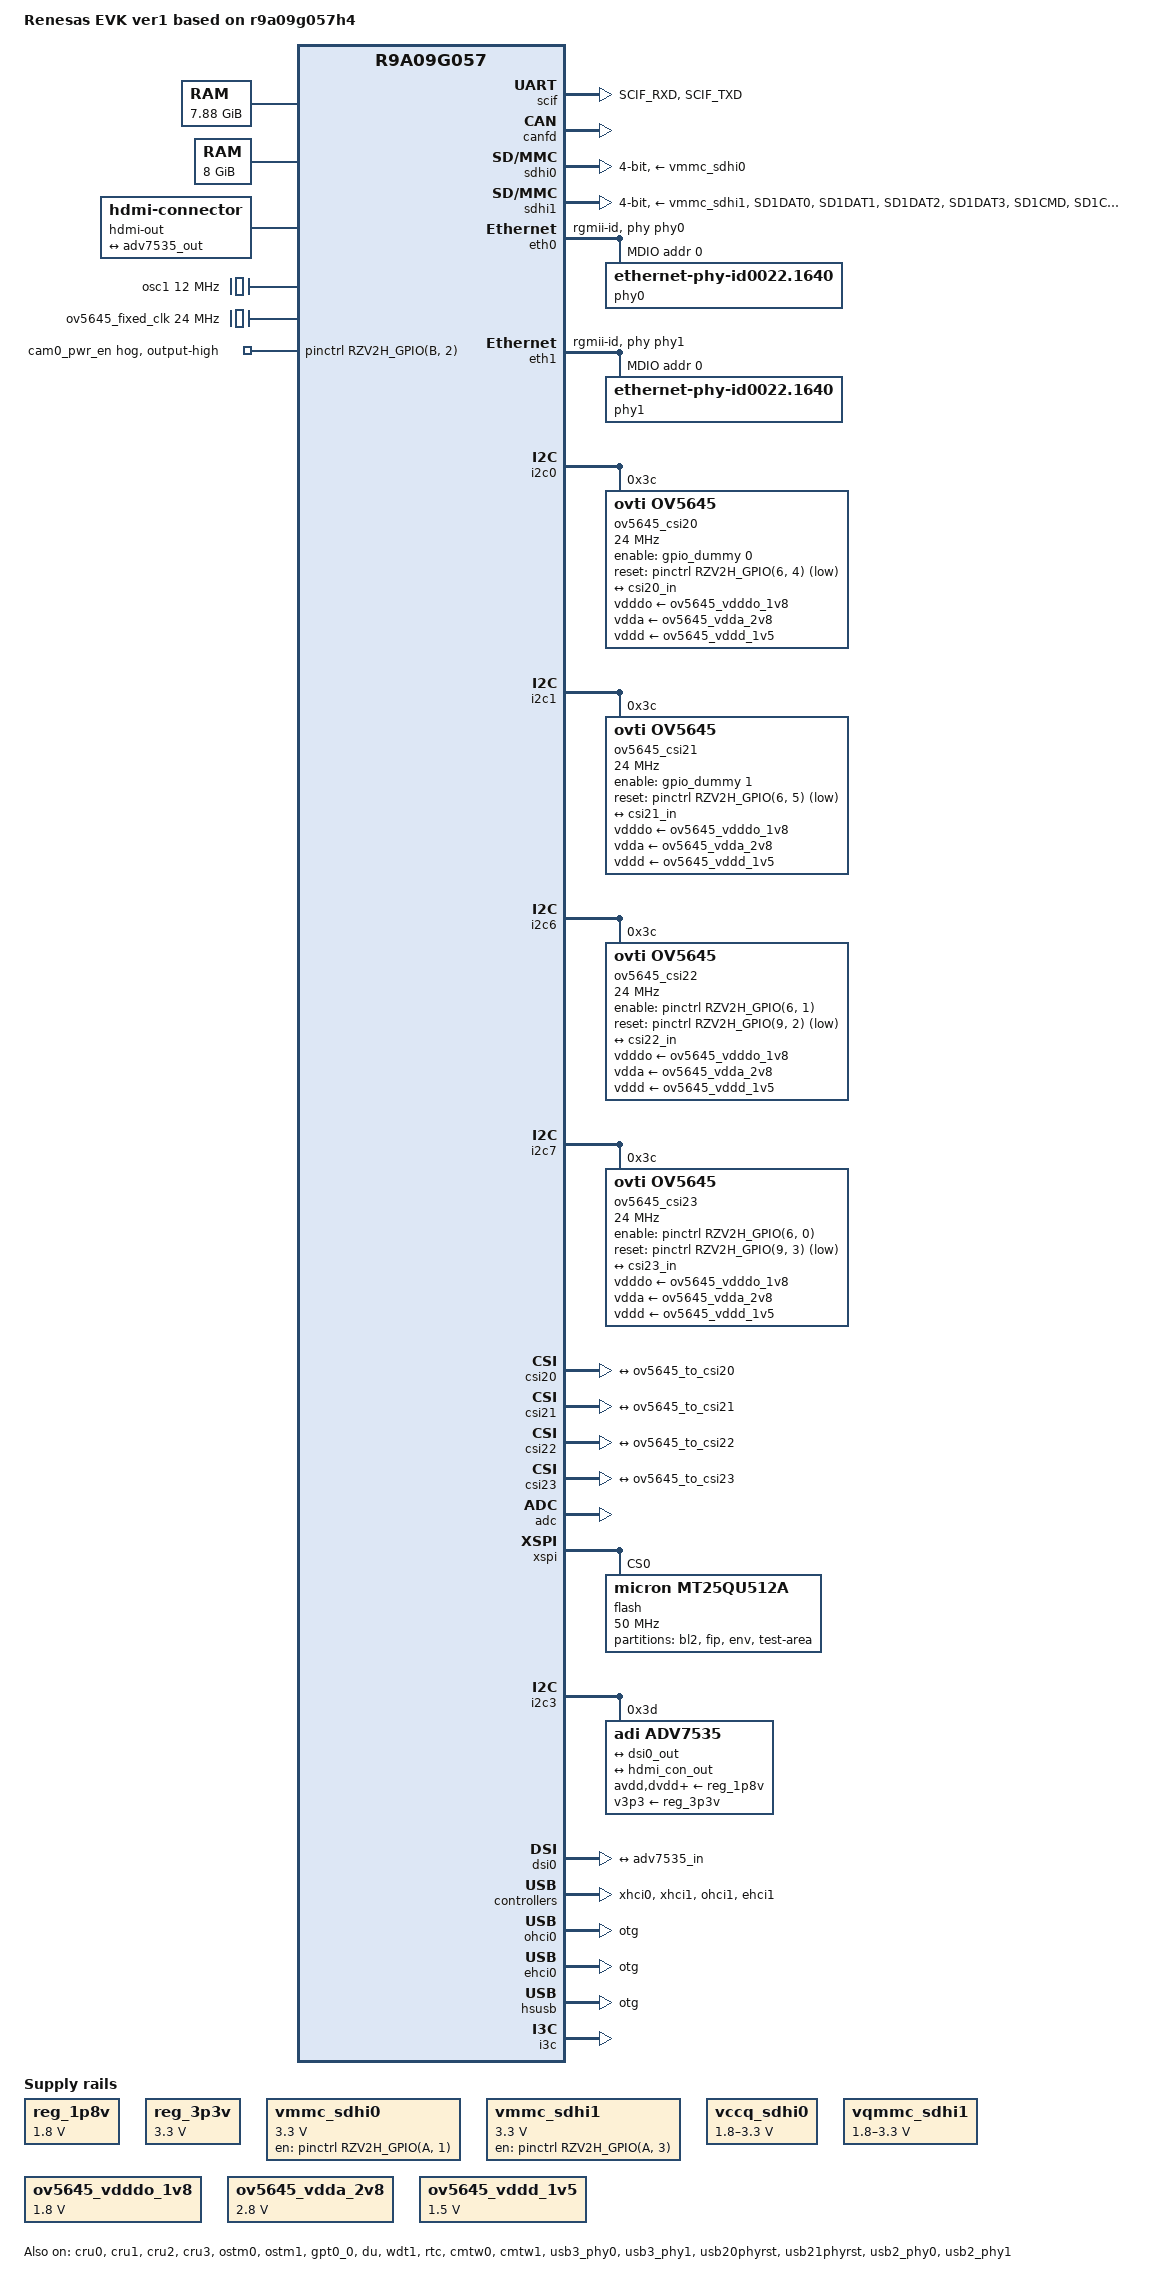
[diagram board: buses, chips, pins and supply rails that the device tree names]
// SPDX-License-Identifier: (GPL-2.0-only OR BSD-2-Clause)
/*
 * Device Tree Source for the RZ/V2H EVK ver1 board
 *
 * Copyright (C) 2024 Renesas Electronics Corp.
 */

/dts-v1/;
#include "r9a09g057.dtsi"
#include <dt-bindings/pinctrl/rzv2h-pinctrl.h>
#include <dt-bindings/gpio/gpio.h>

/ {
	model = "Renesas EVK ver1 based on r9a09g057h4";
	compatible = "renesas,r9a09g057h4-evk-ver1", "renesas,r9a09g057h4", "renesas,r9a09g057";

	aliases {
		serial0 = &scif;
		mmc0 = &sdhi0;
		mmc1 = &sdhi1;
		mmc2 = &sdhi2;
		ethernet0 = &eth0;
		ethernet1 = &eth1;
        };

	chosen {
		bootargs = "ignore_loglevel";
		stdout-path = "serial0:115200n8";
	};

	memory@48000000 {
		device_type = "memory";
		/* first 128MB is reserved for secure area. */
		reg = <0x0 0x48000000 0x1 0xF8000000>;
	};

	memory@240000000 {
		device_type = "memory";
		reg = <0x2 0x40000000 0x2 0x00000000>;
	};

	reserved-memory {
		#address-cells = <2>;
		#size-cells = <2>;
		ranges;

		global_cma: linux,cma@58000000 {
			compatible = "shared-dma-pool";
			linux,cma-default;
			reusable;
			reg = <0x0 0x58000000 0x0 0x10000000>;
		};

		mmp_reserved: linux,multimedia {
			compatible = "shared-dma-pool";
			reusable;
			reg = <0x00000000 0x68000000 0x0 0x20000000>;
		};

		isp: ISP@90000000 {
			compatible = "shared-dma-pool";
			reusable;
			reg = <0x0 0x90000000 0x0 0x18000000>;
		};

		image_buf0: image_buf@B0000000 {
			compatible = "shared-dma-pool";
			reusable;
			reg = <0x0 0xB0000000 0x0 0x4000000>;
			label = "image_buf0";
		};

		opencva_reserved: OpenCVA@C0000000 {
			reusable;
			reg = <0x0 0xC0000000 0x0 0x7D00000>;
		};

		drp_codec: DRP-Codec@C7D00000 {
			reusable;
			reg = <0x0 0xC7D00000 0x0 0x300000>;
		};

		drp_reserved: DRP-AI@240000000 {
			reusable;
			reg = <0x2 0x40000000 0x0 0x20000000>;
		};
	};

	reg_1p8v: regulator0 {
		compatible = "regulator-fixed";

		regulator-name = "fixed-1.8V";
		regulator-min-microvolt = <1800000>;
		regulator-max-microvolt = <1800000>;
		regulator-boot-on;
		regulator-always-on;
	};

	reg_3p3v: regulator1 {
		compatible = "regulator-fixed";

		regulator-name = "fixed-3.3V";
		regulator-min-microvolt = <3300000>;
		regulator-max-microvolt = <3300000>;
		regulator-boot-on;
		regulator-always-on;
	};

	vmmc_sdhi0: regulator-vcc-sdhi0 {
		compatible = "regulator-fixed";

		regulator-name = "SDHI0 Vmmc";
		regulator-min-microvolt = <3300000>;
		regulator-max-microvolt = <3300000>;

		gpios = <&pinctrl RZV2H_GPIO(A, 1) GPIO_ACTIVE_HIGH>;
		enable-active-high;
	};

	vmmc_sdhi1: regulator-vcc-sdhi1 {
		compatible = "regulator-fixed";

		regulator-name = "SDHI1 Vmmc";
		regulator-min-microvolt = <3300000>;
		regulator-max-microvolt = <3300000>;

		gpios = <&pinctrl RZV2H_GPIO(A, 3) GPIO_ACTIVE_HIGH>;
		enable-active-high;
	};

	vccq_sdhi0: regulator-vccq-sdhi0 {
		compatible = "regulator-gpio";

		regulator-name = "SDHI0 VccQ";
		regulator-min-microvolt = <1800000>;
		regulator-max-microvolt = <3300000>;

		gpios = <&pinctrl RZV2H_GPIO(A, 0) GPIO_ACTIVE_HIGH>;

		gpios-states = <0>;
		states = <3300000 0 1800000 1>;
	};

	vqmmc_sdhi1: regulator-vccq-sdhi1 {
		compatible = "regulator-gpio";

		regulator-name = "SDHI1 VccQ";
		regulator-min-microvolt = <1800000>;
		regulator-max-microvolt = <3300000>;

		gpios = <&pinctrl RZV2H_GPIO(A, 2) GPIO_ACTIVE_HIGH>;

		gpios-states = <0>;
		states = <3300000 0 1800000 1>;
	};

	hdmi-out {
		compatible = "hdmi-connector";
		type = "d";

		port {
			hdmi_con_out: endpoint {
				remote-endpoint = <&adv7535_out>;
			};
		};
	};

	osc1: cec-clock {
		compatible = "fixed-clock";
		#clock-cells = <0>;
		clock-frequency = <12000000>;
	};

	ov5645_fixed_clk: osc25250-clk {
		compatible = "fixed-clock";
		#clock-cells = <0>;
		clock-frequency = <24000000>;
	};

	ov5645_vdddo_1v8: 1p8v {
		compatible = "regulator-fixed";
		regulator-name = "camera_vdddo";
		regulator-min-microvolt = <1800000>;
		regulator-max-microvolt = <1800000>;
		regulator-always-on;
	};

	ov5645_vdda_2v8: 2p8v {
		compatible = "regulator-fixed";
		regulator-name = "camera_vdda";
		regulator-min-microvolt = <2800000>;
		regulator-max-microvolt = <2800000>;
		regulator-always-on;
	};

	ov5645_vddd_1v5: 1p5v {
		compatible = "regulator-fixed";
		regulator-name = "camera_vddd";
		regulator-min-microvolt = <1500000>;
		regulator-max-microvolt = <1500000>;
		regulator-always-on;
	};

	gpio_dummy: gpio-dummy {
		compatible = "gpio-dummy";
		gpio-controller;
		#gpio-cells = <2>;
		ngpios = <2>;
	};

	osc1: cec-clock {
		compatible = "fixed-clock";
		#clock-cells = <0>;
		clock-frequency = <12000000>;
	};
};

&pinctrl {
	can0_pins: can0 {
		pinmux = <RZV2H_PORT_PINMUX(8, 0, 5)>, /* TX */
			 <RZV2H_PORT_PINMUX(8, 1, 5)>; /* RX */
	};

	can1_pins: can1 {
		pinmux = <RZV2H_PORT_PINMUX(8, 2, 5)>, /* TX */
			 <RZV2H_PORT_PINMUX(8, 3, 5)>; /* RX */
	};

	scif_pins: scif {
		pins =  "SCIF_RXD", "SCIF_TXD";
		renesas,output-impedance = <1>;
	};

	/* cam0_pwr_en is used by Google Coral Camera from CSI20 and CSI21 */
	cam0_pwr_en {
		gpio-hog;
		gpios = <RZV2H_GPIO(B, 2) GPIO_ACTIVE_HIGH>;
		output-high;
		line-name = "cam0_pwr_en";
	};

	sdhi0_pins: sd0 {
		sd0_mux {
			pinmux = <RZV2H_PORT_PINMUX(A, 5, 15)>; /* SD0_CD */
		};
	};

	sdhi1_pins: sd1 {
		sd1_data {
			pins = "SD1DAT0", "SD1DAT1", "SD1DAT2", "SD1DAT3";
			input-enable;
			renesas,output-impedance = <3>;
			slew-rate = <1>;
		};

		sd1_cmd {
			pins = "SD1CMD";
			input-enable;
			renesas,output-impedance = <3>;
			slew-rate = <1>;
		};

		sd1_clk {
			pins = "SD1CLK";
			renesas,output-impedance = <3>;
			slew-rate = <1>;
		};

		sd1_cd {
			pinmux = <RZV2H_PORT_PINMUX(9, 4, 14)>; /* SD1_CD */
		};
	};

	i2c0_pins: i2c0 {
		pinmux = <RZV2H_PORT_PINMUX(3, 0, 1)>, /* I2C0_SDA */
			 <RZV2H_PORT_PINMUX(3, 1, 1)>; /* I2C0_SCL */
	};

	i2c1_pins: i2c1 {
		pinmux = <RZV2H_PORT_PINMUX(3, 2, 1)>, /* I2C1_SDA */
			 <RZV2H_PORT_PINMUX(3, 3, 1)>; /* I2C1_SCL */
	};

	i2c3_pins: i2c3 {
		pinmux = <RZV2H_PORT_PINMUX(3, 6, 1)>, /* I2C3_SDA */
			 <RZV2H_PORT_PINMUX(3, 7, 1)>; /* I2C3_SCL */
	};

	i2c6_pins: i2c6 {
		pinmux = <RZV2H_PORT_PINMUX(4, 4, 1)>, /* I2C6_SDA */
			 <RZV2H_PORT_PINMUX(4, 5, 1)>; /* I2C6_SCL */
	};

	i2c7_pins: i2c7 {
		pinmux = <RZV2H_PORT_PINMUX(4, 6, 1)>, /* I2C7_SDA */
			 <RZV2H_PORT_PINMUX(4, 7, 1)>; /* I2C7_SCL */
	};

	usb30_pins: usb30 {
		pinmux = <RZV2H_PORT_PINMUX(B, 1, 14)>, /* OVC */
			 <RZV2H_PORT_PINMUX(B, 0, 14)>; /* VBUS */
	};

	usb31_pins: usb31 {
		pinmux = <RZV2H_PORT_PINMUX(6, 3, 14)>, /* OVC */
			 <RZV2H_PORT_PINMUX(6, 2, 14)>; /* VBUS */
	};

	usb20_pins: usb20 {
		pinmux = <RZV2H_PORT_PINMUX(9, 5, 14)>, /* VBUS */
			 <RZV2H_PORT_PINMUX(9, 6, 14)>; /* OVC */
	};

	usb21_pins: usb21 {
		pinmux = <RZV2H_PORT_PINMUX(6, 6, 14)>, /* VBUS */
			 <RZV2H_PORT_PINMUX(6, 7, 14)>; /* OVC */
	};

	gpt0_0_pins: gpt0_0 {
		pinmux = <RZV2H_PORT_PINMUX(7, 0, 9)>, /* Channel A */
			 <RZV2H_PORT_PINMUX(7, 1, 9)>; /* Channel B */
	};

	i3c_pins: i3c {
		pinmux = <RZV2H_PORT_PINMUX(2, 0, 1)>, /* I3C_SDA */
			 <RZV2H_PORT_PINMUX(2, 1, 1)>; /* I3C_SCL */
	};
};

&qextal_clk {
	clock-frequency = <24000000>;
};

&scif {
	pinctrl-0 = <&scif_pins>;
	pinctrl-names = "default";

	status = "okay";
};

&canfd {
	pinctrl-0 = <&can0_pins &can1_pins>;
	pinctrl-names = "default";
	status = "okay";

	channel0 {
		status = "okay";
	};

	channel1 {
		status = "okay";
	};
};

&sdhi0 {
	pinctrl-0 = <&sdhi0_pins>;
	pinctrl-names = "default";
	vmmc-supply = <&vmmc_sdhi0>;
	vqmmc-supply = <&vccq_sdhi0>;
	bus-width = <4>;
	sd-uhs-sdr50;
	sd-uhs-sdr104;
	status = "okay";
};

&sdhi1 {
	pinctrl-0 = <&sdhi1_pins>;
	pinctrl-1 = <&sdhi1_pins>;
	pinctrl-names = "default","state_uhs";
	vmmc-supply = <&vmmc_sdhi1>;
	vqmmc-supply = <&vqmmc_sdhi1>;
	bus-width = <4>;
	sd-uhs-sdr50;
	sd-uhs-sdr104;
	status = "okay";
};

&eth0 {
	phy-handle = <&phy0>;
	phy-mode = "rgmii-id";
	status = "okay";

	mdio {
		#address-cells = <1>;
		#size-cells = <0>;
		phy0: ethernet-phy@0 {
			compatible = "ethernet-phy-id0022.1640",
				     "ethernet-phy-ieee802.3-c22";
			reg = <0>;
			rxc-skew-psec = <1400>;
			txc-skew-psec = <1400>;
			rxdv-skew-psec = <0>;
			txdv-skew-psec = <0>;
			rxd0-skew-psec = <0>;
			rxd1-skew-psec = <0>;
			rxd2-skew-psec = <0>;
			rxd3-skew-psec = <0>;
			txd0-skew-psec = <0>;
			txd1-skew-psec = <0>;
			txd2-skew-psec = <0>;
			txd3-skew-psec = <0>;
		};
	};
};

&eth1 {
	phy-handle = <&phy1>;
	phy-mode = "rgmii-id";
	status = "okay";

	mdio {
		#address-cells = <1>;
		#size-cells = <0>;
		phy1: ethernet-phy@0 {
			compatible = "ethernet-phy-id0022.1640",
				     "ethernet-phy-ieee802.3-c22";
			reg = <0>;
			rxc-skew-psec = <1400>;
			txc-skew-psec = <1400>;
			rxdv-skew-psec = <0>;
			txdv-skew-psec = <0>;
			rxd0-skew-psec = <0>;
			rxd1-skew-psec = <0>;
			rxd2-skew-psec = <0>;
			rxd3-skew-psec = <0>;
			txd0-skew-psec = <0>;
			txd1-skew-psec = <0>;
			txd2-skew-psec = <0>;
			txd3-skew-psec = <0>;
		};
	};
};

&i2c0 {
	pinctrl-0 = <&i2c0_pins>;
	pinctrl-names = "default";

	status = "okay";

	ov5645_csi20: ov5645_csi20@3c {
		compatible = "ovti,ov5645";
		reg = <0x3c>;
		clocks = <&ov5645_fixed_clk>;
		clock-frequency = <24000000>;
		vdddo-supply = <&ov5645_vdddo_1v8>;
		vdda-supply = <&ov5645_vdda_2v8>;
		vddd-supply = <&ov5645_vddd_1v5>;
		/* Set dummy enable gpio */
		enable-gpios = <&gpio_dummy 0 GPIO_ACTIVE_HIGH>;
		reset-gpios = <&pinctrl RZV2H_GPIO(6, 4) GPIO_ACTIVE_LOW>;

		port {
			ov5645_to_csi20: endpoint {
				clock-lanes = <0>;
				data-lanes = <1 2>;
				remote-endpoint = <&csi20_in>;
			};
		};
	};
};

&i2c1 {
	pinctrl-0 = <&i2c1_pins>;
	pinctrl-names = "default";

	status = "okay";

	ov5645_csi21: ov5645_csi21@3c {
		compatible = "ovti,ov5645";
		reg = <0x3c>;
		clocks = <&ov5645_fixed_clk>;
		clock-frequency = <24000000>;
		vdddo-supply = <&ov5645_vdddo_1v8>;
		vdda-supply = <&ov5645_vdda_2v8>;
		vddd-supply = <&ov5645_vddd_1v5>;
		/* Set dummy enable gpio */
		enable-gpios = <&gpio_dummy 1 GPIO_ACTIVE_HIGH>;
		reset-gpios = <&pinctrl RZV2H_GPIO(6, 5) GPIO_ACTIVE_LOW>;

		port {
			ov5645_to_csi21: endpoint {
				clock-lanes = <0>;
				data-lanes = <1 2>;
				remote-endpoint = <&csi21_in>;
			};
		};
	};
};

&i2c6 {
	pinctrl-0 = <&i2c6_pins>;
	pinctrl-names = "default";

	status = "okay";

	ov5645_csi22: ov5645_csi22@3c {
		compatible = "ovti,ov5645";
		reg = <0x3c>;
		clocks = <&ov5645_fixed_clk>;
		clock-frequency = <24000000>;
		vdddo-supply = <&ov5645_vdddo_1v8>;
		vdda-supply = <&ov5645_vdda_2v8>;
		vddd-supply = <&ov5645_vddd_1v5>;
		enable-gpios = <&pinctrl RZV2H_GPIO(6, 1) GPIO_ACTIVE_HIGH>;
		reset-gpios = <&pinctrl RZV2H_GPIO(9, 2) GPIO_ACTIVE_LOW>;

		port {
			ov5645_to_csi22: endpoint {
				clock-lanes = <0>;
				data-lanes = <1 2>;
				remote-endpoint = <&csi22_in>;
			};
		};
	};
};

&i2c7 {
	pinctrl-0 = <&i2c7_pins>;
	pinctrl-names = "default";

	status = "okay";

	ov5645_csi23: ov5645_csi23@3c {
		compatible = "ovti,ov5645";
		reg = <0x3c>;
		clocks = <&ov5645_fixed_clk>;
		clock-frequency = <24000000>;
		vdddo-supply = <&ov5645_vdddo_1v8>;
		vdda-supply = <&ov5645_vdda_2v8>;
		vddd-supply = <&ov5645_vddd_1v5>;
		enable-gpios = <&pinctrl RZV2H_GPIO(6, 0) GPIO_ACTIVE_HIGH>;
		reset-gpios = <&pinctrl RZV2H_GPIO(9, 3) GPIO_ACTIVE_LOW>;

		port {
			ov5645_to_csi23: endpoint {
				clock-lanes = <0>;
				data-lanes = <1 2>;
				remote-endpoint = <&csi23_in>;
			};
		};
	};
};

&cru0 {
	status = "okay";
};

&csi20 {
	status = "okay";

	ports {
		port {
			csi20_in: endpoint {
				clock-lanes = <0>;
				data-lanes = <1 2>;
				remote-endpoint = <&ov5645_to_csi20>;
			};
		};
	};
};

&cru1 {
	status = "okay";
};

&csi21 {
	status = "okay";

	ports {
		port {
			csi21_in: endpoint {
				clock-lanes = <0>;
				data-lanes = <1 2>;
				remote-endpoint = <&ov5645_to_csi21>;
			};
		};
	};
};

&cru2 {
	status = "okay";
};

&csi22 {
	status = "okay";

	ports {
		port {
			csi22_in: endpoint {
				clock-lanes = <0>;
				data-lanes = <1 2>;
				remote-endpoint = <&ov5645_to_csi22>;
			};
		};
	};
};

&cru3 {
	status = "okay";
};

&csi23 {
	status = "okay";

	ports {
		port {
			csi23_in: endpoint {
				clock-lanes = <0>;
				data-lanes = <1 2>;
				remote-endpoint = <&ov5645_to_csi23>;
			};
		};
	};
};


&ostm0 {
	status = "okay";
};

&ostm1 {
	status = "okay";
};

&gpt0_0 {
	pinctrl-0 = <&gpt0_0_pins>;
	pinctrl-names = "default";
	channel = "both_AB";
	status = "okay";
};

&adc {
	status = "okay";
};

&xspi {
	status = "okay";

	flash@0 {
		compatible = "micron,mt25qu512a", "jedec,spi-nor";
		reg = <0>;
		m25p,fast-read;
		spi-max-frequency = <50000000>;
		spi-tx-bus-width = <1>;
		spi-rx-bus-width = <1>;

		partitions {
			compatible = "fixed-partitions";
			#address-cells = <1>;
			#size-cells = <1>;

			partition@0 {
				label = "bl2";
				reg = <0x00000000 0x0001D200>;
				read-only;
			};

			partition@1D200 {
				label = "fip";
				reg = <0x0001D200 0x001C2E00>;
				read-only;
			};

			partition@1E0000 {
				label = "env";
				reg = <0x001E0000 0x00020000>;
				read-only;
			};

			partition@200000 {
				label = "test-area";
				reg = <0x00200000 0x00E00000>;
			};
		};
	};
};

&i2c3 {
	pinctrl-0 = <&i2c3_pins>;
	pinctrl-names = "default";

	status = "okay";

	adv7535: hdmi@3d {
		compatible = "adi,adv7535";
		reg = <0x3d>;

		clocks = <&osc1>;
		clock-names = "cec";
		avdd-supply = <&reg_1p8v>;
		dvdd-supply = <&reg_1p8v>;
		pvdd-supply = <&reg_1p8v>;
		a2vdd-supply = <&reg_1p8v>;
		v3p3-supply = <&reg_3p3v>;
		v1p2-supply = <&reg_1p8v>;

		adi,dsi-lanes = <4>;

		ports {
			#address-cells = <1>;
			#size-cells = <0>;

			port@0 {
				reg = <0>;
				adv7535_in: endpoint@0 {
					remote-endpoint = <&dsi0_out>;
				};
			};

			port@1 {
				reg = <1>;
				adv7535_out: endpoint@1 {
				remote-endpoint = <&hdmi_con_out>;
				};
			};
		};
	};
};

&du {
	status = "okay";
};

&dsi0 {
	status = "okay";

	ports {
		port@1 {
			dsi0_out: endpoint {
				remote-endpoint = <&adv7535_in>;
				data-lanes = <1 2 3 4>;
			};
		};
	};
};

&wdt1 {
	status = "okay";
};

&rtc {
	status = "okay";
};

&cmtw0 {
	status = "okay";
};

&cmtw1 {
	status = "okay";
};

&usb3_phy0 {
	status = "okay";
};

&usb3_phy1 {
	status = "okay";
};

&xhci0 {
		pinctrl-0 = <&usb30_pins>;
		pinctrl-names = "default";

		memory-region = <&global_cma>;
		status = "okay";
};

&xhci1 {
		pinctrl-0 = <&usb31_pins>;
		pinctrl-names = "default";

		memory-region = <&global_cma>;
		status = "okay";
};

&usb20phyrst {
	status = "okay";
};

&usb21phyrst {
	status = "okay";
};

&ohci0 {
	memory-region = <&global_cma>;

	dr_mode = "otg";
	status = "okay";
};

&ohci1 {
	memory-region = <&global_cma>;

	status = "okay";
};

&ehci0 {
	memory-region = <&global_cma>;

	dr_mode = "otg";
	status = "okay";
};

&ehci1 {
	memory-region = <&global_cma>;

	status = "okay";
};

&hsusb {
	dr_mode = "otg";
	status = "okay";
};

&usb2_phy0 {
	pinctrl-0 = <&usb20_pins>;
	pinctrl-names = "default";

	status = "okay";
};

&usb2_phy1 {
	pinctrl-0 = <&usb21_pins>;
	pinctrl-names = "default";

	status = "okay";
};

&i3c {
	pinctrl-0 = <&i3c_pins>;
	pinctrl-names = "default";

	status = "okay";
};
